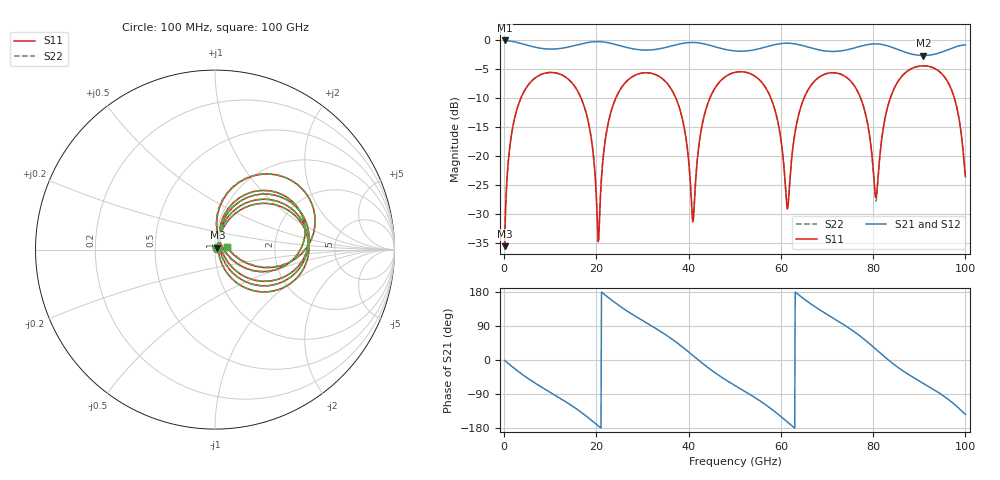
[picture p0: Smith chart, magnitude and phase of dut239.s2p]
! Touchstone file exported from HFSS 2026.1.0
!  File:  C:/ffzhzh/LocalFiles/Ansys_Project_Files/temp_train_TSV_RDL_239_1783666748_33328.aedt
!  Generated:  03:08:40 PM Jul 10, 2026
!  Design:  TSV_RDL
!  Project:  temp_train_TSV_RDL_239_1783666748_33328
! Variables:
!  h_bsmrdl = 3.47um
!  h_ox = 20um
!  h_rdl = 5um
!  h_sub = 71.78um
!  h_tmrdl = 2.77um
!  h_tsv = 71.78um
!  h_via = 3um
!  l_bsmrdl = 524.33um
!  l_sub = 2868.05um
!  l_tmrdl = 190.39um
!  m_sub = 200um
!  pitch = 54.08um
!  r_tsv = 9.09um
!  s_tmrdl = 10um
!  w_bsmrdl = 26.25um
!  w_sub = 500um
!  w_tmrdl = 18.25um
!  x_tsv_center1 = 199.515um
!  x_tsv_center2 = 750.095um
!  x_tsv_center3 = 958.735um
!  x_tsv_center4 = 1509.315um
!  x_tsv_center5 = 1717.955um
!  x_tsv_center6 = 2268.535um
# GHz S MA R 50.000000
! Terminal data exported
! Port[1] = TM_RDL1_1_T1
! Port[2] = TM_RDL5_1_T1
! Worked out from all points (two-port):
!   1000 points, 100 MHz to 100 GHz, reference 50 ohm
!   highest |S21| = -0.11 dB at 100 MHz (marker M1); lowest = -2.7 dB at 90.9 GHz (marker M2)
!   |S21| within 3 dB of the highest: start of sweep to end of sweep
!   lowest |S11| = -35.5 dB at 100 MHz (marker M3), VSWR 1.03, Z = 51.3 + j1.06 ohm
!   |S11| at or under -10 dB: 16.66 GHz to 24.22 GHz (7.558 GHz wide, 37 % of centre); 37.21 GHz to 44.62 GHz (7.413 GHz wide, 18.1 % of centre); 57.82 GHz to 65.03 GHz (7.218 GHz wide, 11.8 % of centre) (the widest 3 of 6)
!   |S22| runs from -35.5 to -4.5 dB; largest |S21 - S12| = 2e-14
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0.1  0.01679 38.1  0.9869 -1.1  0.9869 -1.1  0.01679 38.1
! Gamma 0 0 0 0
! Port Impedance 50 0 50 0
1.6  0.1537 67.5  0.9712 -16.2  0.9712 -16.2  0.1537 67.5
4.6  0.3759 43.3  0.9074 -43.9  0.9074 -43.9  0.3759 43.3
10.6  0.5227 -1.0  0.8323 -89.6  0.8323 -89.6  0.5227 -1.0
16.8  0.3071 -47.6  0.9241 -138.9  0.9241 -138.9  0.3071 -47.6
20.4  0.01835 -3.2  0.9645 -173.7  0.9645 -173.7  0.01825 -3.3
24.2  0.3148 56.0  0.9101 149.9  0.9101 149.9  0.3148 56.0
33.4  0.489 -10.5  0.8334 79.3  0.8334 79.3  0.4889 -10.6
38.3  0.2363 -47.3  0.9251 37.7  0.9251 37.7  0.2363 -47.5
40.9  0.02753 5.1  0.9485 12.1  0.9485 12.1  0.02666 4.9
44  0.2714 65.8  0.9096 -18.3  0.9096 -18.3  0.2713 66.0
50.1  0.5253 21.0  0.8013 -67.8  0.8013 -67.8  0.5252 21.2
57.8  0.3174 -33.7  0.8904 -128.0  0.8904 -128.0  0.3174 -33.5
61.4  0.03504 13.2  0.9347 -163.4  0.9347 -163.4  0.03644 13.5
63.6  0.2057 74.6  0.9131 174.4  0.9131 174.4  0.2061 74.2
66.7  0.4144 52.5  0.8472 146.3  0.8472 146.3  0.4145 52.3
76.2  0.3869 -14.6  0.8566 72.0  0.8566 72.0  0.3867 -14.9
80.6  0.04399 25.9  0.9227 28.3  0.9227 28.3  0.04096 25.9
83.4  0.2876 80.3  0.8804 -0.9  0.8804 -0.9  0.2873 80.9
90.9  0.5974 27.8  0.7324 -61.7  0.7324 -61.7  0.5975 28.1
96.9  0.3793 -13.7  0.842 -109.8  0.842 -109.8  0.3797 -13.2
100  0.06655 10.4  0.9032 -143.7  0.9032 -143.7  0.06916 11.4
